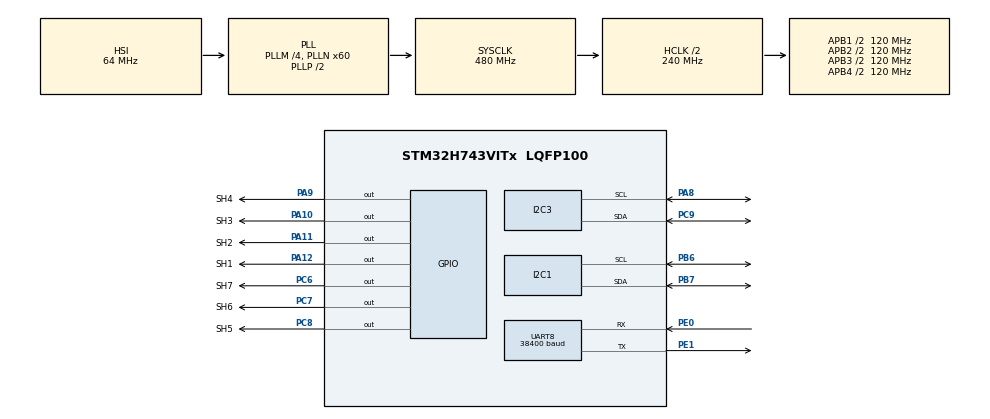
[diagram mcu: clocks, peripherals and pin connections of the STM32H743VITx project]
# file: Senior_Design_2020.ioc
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I2C1.OwnAddress=2
I2C1.Timing=0x307075B1
I2C3.OwnAddress=4
I2C3.Timing=0x307075B1
JPEG.JPEG_RGB_FORMAT=JPEG_RGB565
Mcu.Family=STM32H7
Mcu.Name=STM32H743VITx
Mcu.Package=LQFP100
NVIC.I2C1_EV_IRQn=true\:1\:0\:true\:false\:true\:true\:true
NVIC.I2C3_EV_IRQn=true\:0\:0\:false\:false\:true\:true\:true
NVIC.PriorityGroup=NVIC_PRIORITYGROUP_4
NVIC.UART8_IRQn=true\:1\:0\:true\:false\:true\:true\:true
PA10.GPIO_Label=SH3
PA10.Signal=GPIO_Output
PA11.GPIO_Label=SH2
PA11.Signal=GPIO_Output
PA12.GPIO_Label=SH1
PA12.Signal=GPIO_Output
PA8.Mode=I2C
PA8.Signal=I2C3_SCL
PA9.GPIO_Label=SH4
PA9.Signal=GPIO_Output
PB6.Mode=I2C
PB6.Signal=I2C1_SCL
PB7.Mode=I2C
PB7.Signal=I2C1_SDA
PC6.GPIO_Label=SH7
PC6.Signal=GPIO_Output
PC7.GPIO_Label=SH6
PC7.Signal=GPIO_Output
PC8.GPIO_Label=SH5
PC8.Signal=GPIO_Output
PC9.Mode=I2C
PC9.Signal=I2C3_SDA
PE0.GPIO_Speed=GPIO_SPEED_FREQ_HIGH
PE0.Mode=Asynchronous
PE0.Signal=UART8_RX
PE1.GPIO_Speed=GPIO_SPEED_FREQ_HIGH
PE1.Mode=Asynchronous
PE1.Signal=UART8_TX
ProjectManager.HeapSize=0x2000
ProjectManager.StackSize=0x4000
ProjectManager.TargetToolchain=STM32CubeIDE
RCC.ADCFreq_Value=129000000
RCC.APB1Freq_Value=120000000
RCC.APB2Freq_Value=120000000
RCC.APB3Freq_Value=120000000
RCC.APB4Freq_Value=120000000
RCC.CortexFreq_Value=480000000
RCC.D1PPRE=RCC_APB3_DIV2
RCC.D2PPRE1=RCC_APB1_DIV2
RCC.D2PPRE2=RCC_APB2_DIV2
RCC.D3PPRE=RCC_APB4_DIV2
RCC.DIVM1=4
RCC.DIVN1=60
RCC.HCLKFreq_Value=240000000
RCC.HPRE=RCC_HCLK_DIV2
RCC.PLL2FRACN=0
RCC.PLL3FRACN=0
RCC.PLLFRACN=0
RCC.SYSCLKFreq_VALUE=480000000
RCC.SYSCLKSource=RCC_SYSCLKSOURCE_PLLCLK
RCC.USBFreq_Value=480000000
UART8.AutoBaudRateEnableParam=UART_ADVFEATURE_AUTOBAUDRATE_DISABLE
UART8.BaudRate=38400
UART8.FIFOMode=FIFOMODE_ENABLE
UART8.RXFIFOThreshold=RXFIFO_THRESHOLD_FULL
VP_JPEG_VS_JPEG.Mode=JPEG_Activate
board=custom

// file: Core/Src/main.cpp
/* USER CODE BEGIN Header */
/**
  ******************************************************************************
  * @file           : main.c
  * @brief          : Main program body
  ******************************************************************************
  * @attention
  *
  * <h2><center>&copy; Copyright (c) 2020 STMicroelectronics.
  * All rights reserved.</center></h2>
  *
  * This software component is licensed by ST under BSD 3-Clause license,
  * the "License"; You may not use this file except in compliance with the
  * License. You may obtain a copy of the License at:
  *                        opensource.org/licenses/BSD-3-Clause
  *
  ******************************************************************************
  */
/* USER CODE END Header */

#include "main.h"

/* USER CODE BEGIN Includes */
#include "main_board_comm.h"
#include "HAL_VL53L0X.h"
/* USER CODE END Includes */

I2C_HandleTypeDef hi2c1;
I2C_HandleTypeDef hi2c3;

JPEG_HandleTypeDef hjpeg;

UART_HandleTypeDef huart8;

/* USER CODE BEGIN PV */
HAL_VL53L0X sensor[7];

// to take in frames from the master
uint8_t master_comm_buff[9];

uint8_t buff_list_size = 4;
buffer_link buffer_list[4];

obj_t object_list[8];
uint8_t object_num = 0;

// size of this buffer is somewhat arbitrary, first dimension is essentially maximum objects - 1 so this can be scaled
uint8_t i2c_buffer[8][9];

/* USER CODE END PV */

void SystemClock_Config(void);
static void MX_GPIO_Init(void);
static void MX_I2C1_Init(void);
static void MX_JPEG_Init(void);
static void MX_UART8_Init(void);
static void MX_I2C3_Init(void);

int main(void)
{

  /* MCU Configuration--------------------------------------------------------*/

  /* Reset of all peripherals, Initializes the Flash interface and the Systick. */
  HAL_Init();

  /* Configure the system clock */
  SystemClock_Config();

  /* Initialize all configured peripherals */
  MX_GPIO_Init();
  MX_I2C1_Init();
  MX_JPEG_Init();
  MX_UART8_Init();
  MX_I2C3_Init();
  /* USER CODE BEGIN 2 */

  printf("Beginning ToF initialization...\n");

   HAL_GPIO_WritePin(GPIOA, SH1_Pin, GPIO_PIN_RESET);
   HAL_GPIO_WritePin(GPIOA, SH2_Pin, GPIO_PIN_RESET);
   HAL_GPIO_WritePin(GPIOA, SH3_Pin, GPIO_PIN_RESET);
   HAL_GPIO_WritePin(GPIOA, SH4_Pin, GPIO_PIN_RESET);
   HAL_GPIO_WritePin(GPIOC, SH5_Pin, GPIO_PIN_RESET);
   HAL_GPIO_WritePin(GPIOC, SH6_Pin, GPIO_PIN_RESET);
   HAL_GPIO_WritePin(GPIOC, SH7_Pin, GPIO_PIN_RESET);

   HAL_Delay(10);

   HAL_GPIO_WritePin(GPIOA, SH1_Pin, GPIO_PIN_SET);
   if (!sensor[0].begin(TOF_ADD1, false, &hi2c1))
 	  printf("Begin statement 1 failed.\n");

   HAL_GPIO_WritePin(GPIOA, SH2_Pin, GPIO_PIN_SET);
   if (!sensor[1].begin(TOF_ADD2, false, &hi2c1))
 	  printf("Begin statement 2 failed.\n");

   HAL_GPIO_WritePin(GPIOA, SH3_Pin, GPIO_PIN_SET);
   if (!sensor[2].begin(TOF_ADD3, false, &hi2c1))
 	  printf("Begin statement 3 failed.\n");

   HAL_GPIO_WritePin(GPIOA, SH4_Pin, GPIO_PIN_SET);
   if (!sensor[3].begin(TOF_ADD4, false, &hi2c1))
 	  printf("Begin statement 4 failed.\n");

   HAL_GPIO_WritePin(GPIOC, SH5_Pin, GPIO_PIN_SET);
   if (!sensor[4].begin(TOF_ADD5, false, &hi2c1))
 	  printf("Begin statement 5 failed.\n");

   HAL_GPIO_WritePin(GPIOC, SH6_Pin, GPIO_PIN_SET);
   if (!sensor[5].begin(TOF_ADD6, false, &hi2c1))
 	  printf("Begin statement 6 failed.\n");

   HAL_GPIO_WritePin(GPIOC, SH7_Pin, GPIO_PIN_SET);
   if (!sensor[6].begin(TOF_ADD7, false, &hi2c1))
 	  printf("Begin statement 7 failed.\n");

   printf("Finished ToF initialization thus far.\n");

   // initialize camera before anything else with desired resolution, amount of compression (0x0 to 0xFF), and baudrate
   // note: current issue exists, it appears that attempting to change the baud rate will change the camera's baud rate, but our UART will stay
   //		at 38400 baud, we lose out on 3x speedup because of this but we are unsure of how to fix
   Camera_Initialize(&huart8, 1, 0xFF, 38400);
   HAL_Delay(10);

   //initialization of frameptr, must be incremented to request images correctly
   uint16_t frameptr = 0;

   HAL_StatusTypeDef result = HAL_ERROR;

   // initialization of circular buffer
   for (int i = 0; i < buff_list_size-1; i++) {
    buffer_list[i].jpeg_size = 0;
    buffer_list[i].next = buffer_list + i + 1;
   }
   buffer_list[buff_list_size-1].jpeg_size = 0;
   buffer_list[buff_list_size-1].next = buffer_list;

   buffer_link* curr_link = buffer_list;
   buffer_link* transmit_link = NULL;

  //HAL_I2C_Slave_Receive_IT(&hi2c3, master_comm_buff, 1);
  /* USER CODE END 2 */

  /* Infinite loop */
  /* USER CODE BEGIN WHILE */
  while (1)
  {
 	  printf("Beginning while loop.\n");

 	  // begin with ToF data collection for the image we are about to take a snapshot of
 	  // note: currently API does not function, so this function does not work, but its place in the flow should be around here
	  get_TOF_Data();

	  /*
	   * Begin process of extracting image, then processing image.
	   *
	   * Many of the below functions have what should be final code, except
	   * for the image processing functions as those are still waiting for
	   * OpenMV adapted collateral.
	   *
	   * Some ACK checks could be added to verify information, but otherwise the
	   * flow of the below code should be mostly finalized.
	   */

	  HAL_Delay(100);
	  printf("Taking snapshot...\n");
	  uint8_t snapshot_ack[5];
	  uint8_t *snapshot_ack1 = snapshot_ack;
	  Camera_Snapshot(&huart8, snapshot_ack1, sizeof(snapshot_ack));

	  if (snapshot_ack[0] == 0x76)
		  printf("Ack for snapshot received.\n");
	  else
		  printf("No ack received for snapshot.\n");

	  printf("Getting image length...\n");
	  uint8_t length_ack[9];
	  Camera_Get_IMG_Length(&huart8, length_ack, sizeof(length_ack));

	  if (length_ack[0] == 0x76)
		  printf("Ack for image length received.\n");
	  else
		  printf("No ack received for image length.\n");

	  // indices 7 and 8 of the length_ack should have actual values
	  uint16_t img_length = (((uint16_t) length_ack[7]) << 8) + (uint16_t) length_ack[8];
	  printf("Found image length: %lu\n", img_length);

	  curr_link->jpeg_size = img_length;

	  uint32_t ticktransfer1 = HAL_GetTick();

	  printf("Getting image...\n");
	  Camera_Get_IMG(&huart8, curr_link->jpeg, (10+img_length), length_ack[7], length_ack[8], (uint8_t) (frameptr >> 8), (uint8_t) frameptr);

	  uint32_t ticktransfer2 = HAL_GetTick();

	  printf("Image transfer time: %lu\n", ticktransfer2 - ticktransfer1);

	  uint8_t stop_ack[5];
	  uint8_t* stop_ack1 = stop_ack;
	  Camera_Stop_Capture(&huart8, stop_ack1, sizeof(stop_ack));

	  if (stop_ack[0] == 0x76)
		  printf("Ack for stopping capture received.\n");
	  else
		  printf("No ack received for stopping capture.\n");

	  uint8_t* jpeg_img_buf = curr_link->jpeg;
	  jpeg_img_buf += 5;

	  //below is a test for the I2C interface
/*

	  // image processed successfully
	  uint8_t comm = 20;
	  // something did not process correctly
	  uint8_t comm_b = 25;

	  result = HAL_I2C_Slave_Receive(&hi2c2, master_comm_buff, 1, 3000);

	  if (result == 0x0 && master_comm_buff[0] == 0x1) {
		  if (stop_ack[0] == 0x76)
			  result = HAL_I2C_Slave_Transmit(&hi2c2, &comm, 1, 3000);
		  else
			  result = HAL_I2C_Slave_Transmit(&hi2c2, &comm_b, 1, 3000);
	  }

	  else if (result == 0x0 && master_comm_buff[0] == 0x2) {
		  uint16_t jpeg_rem = transmit_link->jpeg_size + 5;
		  while (jpeg_rem > 0 && jpeg_rem < 3500) {
			  if (jpeg_rem/200 > 0)
				  result = HAL_I2C_Slave_Transmit(&hi2c2, (transmit_link->jpeg + 5 + transmit_link->jpeg_size - jpeg_rem), 200, 2000);
			  else {
				  result = HAL_I2C_Slave_Transmit(&hi2c2, (transmit_link->jpeg + 5 + transmit_link->jpeg_size - 100), 200, 2000);
				  printf("At last part.\n");
			  }

			  jpeg_rem -= 200;
			  printf("jpeg_rem: %d\n", jpeg_rem);

			  if (result != HAL_OK)
				  printf("Transmission did not finish, result status: %d\n", result);

			  //HAL_Delay(10);
		  }
	  }
*/

	  uint8_t red_mask = 0b11111000;
	  uint8_t blue_mask = 0b00011111;
	  uint8_t greenh_mask = 0b00000111;
	  uint8_t greenl_mask = 0b11100000;

	  curr_link->rgb[11200] = 255;
	  uint32_t tickj = HAL_GetTick();
	  result = HAL_JPEG_Decode(&hjpeg, jpeg_img_buf, (uint32_t) curr_link->jpeg_size, curr_link->rgb, 57600, 3000);

	  uint8_t* buff_check = curr_link->rgb;
	  buff_check++;
	  buff_check++;
	  buff_check++;
	  buff_check++;
	  buff_check++;

	  if (result == HAL_OK) {
		  printf("JPEG conversion finished successfully.\n");

		  //seems that output is only RGB565, further testing needed but RGB888 is unresponsive and output is 2/3 of expected size
		  for (uint64_t i = 0; i < 80; i++) {
			  //printf("{%d, %d} ", curr_link->rgb[19200+2*i], curr_link->rgb[19200+2*i+1]);

			  uint16_t red_v = ((red_mask & curr_link->rgb[19200+2*i+1]) >> 3)*255/31;
			  uint16_t blue_v = ((blue_mask & curr_link->rgb[19200+2*i]))*255/31;
			  uint16_t greenl_v = (greenl_mask & curr_link->rgb[19200+2*i]) >> 5;
			  uint16_t greenh_v = (greenh_mask & curr_link->rgb[19200+2*i+1]) << 3;
			  uint16_t green_v = (greenl_v + greenh_v)*255/63;

			  printf("{%d, %d, %d} ", red_v, green_v, blue_v);
		  }
		  printf("\n");
	  }
	  else
		  printf("JPEG conversion failed.\n");

	  uint32_t tickj2 = HAL_GetTick();
	  printf("JPEG time elapsed: %lu\n", tickj2-tickj);

	  // iterate to avoid sending repeats
	  transmit_link = curr_link;
	  curr_link = curr_link->next;

	  printf("\n\nLOOP COMPLETED\n\n");

	  printf("Result: %d\n\n", result);
	  result = HAL_ERROR;
	  HAL_Delay(10);

	  /*
	   *
	   * PLACEMENT OF COMPUTER VISION ALGORITHM IN FLOW
	   *
	   */

	  master_comm_buff[0] = 20;
	  master_comm_buff[1] = 30;
	  master_comm_buff[2] = 40;
	  master_comm_buff[3] = 50;
	  // placeholder blocking i2c communication until interrupt driven interface is debugged
	  result = HAL_I2C_Slave_Receive(&hi2c3, master_comm_buff, 9, 2000);

	  if (master_comm_buff[0] == DATA_REQ) {
		  package_data(object_list, object_num, i2c_buffer);
		  for (int i = 0; i < object_num/2 + object_num%2; i++)
			  result = HAL_I2C_Slave_Transmit(&hi2c3, i2c_buffer[i], 9, 2000);
	  }
	  result = HAL_ERROR;

	  //printf("End of while loop reached...");

    /* USER CODE END WHILE */

  }
}

void SystemClock_Config(void)
{
  RCC_OscInitTypeDef RCC_OscInitStruct = {0};
  RCC_ClkInitTypeDef RCC_ClkInitStruct = {0};
  RCC_PeriphCLKInitTypeDef PeriphClkInitStruct = {0};

  /** Supply configuration update enable
  */
  HAL_PWREx_ConfigSupply(PWR_LDO_SUPPLY);
  /** Configure the main internal regulator output voltage
  */
  __HAL_PWR_VOLTAGESCALING_CONFIG(PWR_REGULATOR_VOLTAGE_SCALE0);

  while(!__HAL_PWR_GET_FLAG(PWR_FLAG_VOSRDY)) {}
  /** Initializes the CPU, AHB and APB busses clocks
  */
  RCC_OscInitStruct.OscillatorType = RCC_OSCILLATORTYPE_HSI;
  RCC_OscInitStruct.HSIState = RCC_HSI_DIV1;
  RCC_OscInitStruct.HSICalibrationValue = RCC_HSICALIBRATION_DEFAULT;
  RCC_OscInitStruct.PLL.PLLState = RCC_PLL_ON;
  RCC_OscInitStruct.PLL.PLLSource = RCC_PLLSOURCE_HSI;
  RCC_OscInitStruct.PLL.PLLM = 4;
  RCC_OscInitStruct.PLL.PLLN = 60;
  RCC_OscInitStruct.PLL.PLLP = 2;
  RCC_OscInitStruct.PLL.PLLQ = 2;
  RCC_OscInitStruct.PLL.PLLR = 2;
  RCC_OscInitStruct.PLL.PLLRGE = RCC_PLL1VCIRANGE_3;
  RCC_OscInitStruct.PLL.PLLVCOSEL = RCC_PLL1VCOWIDE;
  RCC_OscInitStruct.PLL.PLLFRACN = 0;
  if (HAL_RCC_OscConfig(&RCC_OscInitStruct) != HAL_OK)
  {
    Error_Handler();
  }
  /** Initializes the CPU, AHB and APB busses clocks
  */
  RCC_ClkInitStruct.ClockType = RCC_CLOCKTYPE_HCLK|RCC_CLOCKTYPE_SYSCLK
                              |RCC_CLOCKTYPE_PCLK1|RCC_CLOCKTYPE_PCLK2
                              |RCC_CLOCKTYPE_D3PCLK1|RCC_CLOCKTYPE_D1PCLK1;
  RCC_ClkInitStruct.SYSCLKSource = RCC_SYSCLKSOURCE_PLLCLK;
  RCC_ClkInitStruct.SYSCLKDivider = RCC_SYSCLK_DIV1;
  RCC_ClkInitStruct.AHBCLKDivider = RCC_HCLK_DIV2;
  RCC_ClkInitStruct.APB3CLKDivider = RCC_APB3_DIV2;
  RCC_ClkInitStruct.APB1CLKDivider = RCC_APB1_DIV2;
  RCC_ClkInitStruct.APB2CLKDivider = RCC_APB2_DIV2;
  RCC_ClkInitStruct.APB4CLKDivider = RCC_APB4_DIV2;

  if (HAL_RCC_ClockConfig(&RCC_ClkInitStruct, FLASH_LATENCY_4) != HAL_OK)
  {
    Error_Handler();
  }
  PeriphClkInitStruct.PeriphClockSelection = RCC_PERIPHCLK_UART8|RCC_PERIPHCLK_I2C3
                              |RCC_PERIPHCLK_I2C1;
  PeriphClkInitStruct.Usart234578ClockSelection = RCC_USART234578CLKSOURCE_D2PCLK1;
  PeriphClkInitStruct.I2c123ClockSelection = RCC_I2C123CLKSOURCE_D2PCLK1;
  if (HAL_RCCEx_PeriphCLKConfig(&PeriphClkInitStruct) != HAL_OK)
  {
    Error_Handler();
  }
}

static void MX_I2C1_Init(void)
{

  hi2c1.Instance = I2C1;
  hi2c1.Init.Timing = 0x307075B1;
  hi2c1.Init.OwnAddress1 = 4;
  hi2c1.Init.AddressingMode = I2C_ADDRESSINGMODE_7BIT;
  hi2c1.Init.DualAddressMode = I2C_DUALADDRESS_DISABLE;
  hi2c1.Init.OwnAddress2 = 0;
  hi2c1.Init.OwnAddress2Masks = I2C_OA2_NOMASK;
  hi2c1.Init.GeneralCallMode = I2C_GENERALCALL_DISABLE;
  hi2c1.Init.NoStretchMode = I2C_NOSTRETCH_DISABLE;
  if (HAL_I2C_Init(&hi2c1) != HAL_OK)
  {
    Error_Handler();
  }
  /** Configure Analogue filter
  */
  if (HAL_I2CEx_ConfigAnalogFilter(&hi2c1, I2C_ANALOGFILTER_ENABLE) != HAL_OK)
  {
    Error_Handler();
  }
  /** Configure Digital filter
  */
  if (HAL_I2CEx_ConfigDigitalFilter(&hi2c1, 0) != HAL_OK)
  {
    Error_Handler();
  }

}

static void MX_I2C3_Init(void)
{

  hi2c3.Instance = I2C3;
  hi2c3.Init.Timing = 0x307075B1;
  hi2c3.Init.OwnAddress1 = 8;
  hi2c3.Init.AddressingMode = I2C_ADDRESSINGMODE_7BIT;
  hi2c3.Init.DualAddressMode = I2C_DUALADDRESS_DISABLE;
  hi2c3.Init.OwnAddress2 = 0;
  hi2c3.Init.OwnAddress2Masks = I2C_OA2_NOMASK;
  hi2c3.Init.GeneralCallMode = I2C_GENERALCALL_DISABLE;
  hi2c3.Init.NoStretchMode = I2C_NOSTRETCH_DISABLE;
  if (HAL_I2C_Init(&hi2c3) != HAL_OK)
  {
    Error_Handler();
  }
  /** Configure Analogue filter
  */
  if (HAL_I2CEx_ConfigAnalogFilter(&hi2c3, I2C_ANALOGFILTER_ENABLE) != HAL_OK)
  {
    Error_Handler();
  }
  /** Configure Digital filter
  */
  if (HAL_I2CEx_ConfigDigitalFilter(&hi2c3, 0) != HAL_OK)
  {
    Error_Handler();
  }

}

static void MX_JPEG_Init(void)
{

  hjpeg.Instance = JPEG;
  if (HAL_JPEG_Init(&hjpeg) != HAL_OK)
  {
    Error_Handler();
  }

}

static void MX_UART8_Init(void)
{

  huart8.Instance = UART8;
  huart8.Init.BaudRate = 38400;
  huart8.Init.WordLength = UART_WORDLENGTH_8B;
  huart8.Init.StopBits = UART_STOPBITS_1;
  huart8.Init.Parity = UART_PARITY_NONE;
  huart8.Init.Mode = UART_MODE_TX_RX;
  huart8.Init.HwFlowCtl = UART_HWCONTROL_NONE;
  huart8.Init.OverSampling = UART_OVERSAMPLING_16;
  huart8.Init.OneBitSampling = UART_ONE_BIT_SAMPLE_DISABLE;
  huart8.Init.ClockPrescaler = UART_PRESCALER_DIV1;
  huart8.AdvancedInit.AdvFeatureInit = UART_ADVFEATURE_NO_INIT;
  if (HAL_UART_Init(&huart8) != HAL_OK)
  {
    Error_Handler();
  }
  if (HAL_UARTEx_SetTxFifoThreshold(&huart8, UART_TXFIFO_THRESHOLD_1_8) != HAL_OK)
  {
    Error_Handler();
  }
  if (HAL_UARTEx_SetRxFifoThreshold(&huart8, UART_RXFIFO_THRESHOLD_8_8) != HAL_OK)
  {
    Error_Handler();
  }
  if (HAL_UARTEx_EnableFifoMode(&huart8) != HAL_OK)
  {
    Error_Handler();
  }

}

static void MX_GPIO_Init(void)
{
  GPIO_InitTypeDef GPIO_InitStruct = {0};

  /* GPIO Ports Clock Enable */
  __HAL_RCC_GPIOC_CLK_ENABLE();
  __HAL_RCC_GPIOA_CLK_ENABLE();
  __HAL_RCC_GPIOB_CLK_ENABLE();
  __HAL_RCC_GPIOE_CLK_ENABLE();

  /*Configure GPIO pin Output Level */
  HAL_GPIO_WritePin(GPIOC, SH7_Pin|SH6_Pin|SH5_Pin, GPIO_PIN_RESET);

  /*Configure GPIO pin Output Level */
  HAL_GPIO_WritePin(GPIOA, SH4_Pin|SH3_Pin|SH2_Pin|SH1_Pin, GPIO_PIN_RESET);

  /*Configure GPIO pins : SH7_Pin SH6_Pin SH5_Pin */
  GPIO_InitStruct.Pin = SH7_Pin|SH6_Pin|SH5_Pin;
  GPIO_InitStruct.Mode = GPIO_MODE_OUTPUT_PP;
  GPIO_InitStruct.Pull = GPIO_NOPULL;
  GPIO_InitStruct.Speed = GPIO_SPEED_FREQ_LOW;
  HAL_GPIO_Init(GPIOC, &GPIO_InitStruct);

  /*Configure GPIO pins : SH4_Pin SH3_Pin SH2_Pin SH1_Pin */
  GPIO_InitStruct.Pin = SH4_Pin|SH3_Pin|SH2_Pin|SH1_Pin;
  GPIO_InitStruct.Mode = GPIO_MODE_OUTPUT_PP;
  GPIO_InitStruct.Pull = GPIO_NOPULL;
  GPIO_InitStruct.Speed = GPIO_SPEED_FREQ_LOW;
  HAL_GPIO_Init(GPIOA, &GPIO_InitStruct);

}

/* USER CODE BEGIN 4 */

// dummy functions to be used as interfaces to other blocks
void get_TOF_Data() {

	VL53L0X_RangingMeasurementData_t measure;

	int data[7][5];
	for (int i = 0; i < 5; i++) {
		for (int j = 0; j < 7; j++) {
			sensor[j].rangingTest(&measure, true);
			data[j][i] = measure.RangeMilliMeter;
		}
	}

	process_ToF(object_list, &object_num, data);
}

// attempt at dealing with UART timing issues, could be used for the future for a UART interface driven by interrupt
// especially should be considered because of current baud rate change issues
void HAL_UART_RxCpltCallback(UART_HandleTypeDef * huart) {
	//printf("Interrupt triggered.");

}

// for when we are triggered as slave
void HAL_I2C_SlaveRxCpltCallback(I2C_HandleTypeDef * hi2c) {
	uint8_t message = 1;

	if (master_comm_buff[0] == 0x01)
		HAL_I2C_Slave_Transmit(hi2c, &message, 1, HAL_MAX_DELAY);

	printf("In call back.\n");
	HAL_I2C_Slave_Receive_IT(hi2c, master_comm_buff, 1);
}

/*
 * _write is built for an override of stdio's access to the default weak _write function,
 * used for printf, this implementation with Instrument Trace Macrocell (ITM) writing enables
 * console outputs as long as the Serial Wire Viewer (SWV) configurations are correct
 *
 * NOTES FOR SWV CONFIG:
 * 		- enable SWV ITM Data Console in Windows
 * 		- enable whichever ports necessary, can leave memory as default, check console settings here
 * 		- ensure that debug settings are enabled as such that SWV is enabled, probe is GDB server, and
 * 			clock matches the SYSCLK, not HCLK
 */
int _write(int file, char* out, int len) {
	for (int i = 0; i < len; i++) {
		ITM_SendChar(out[i]);
	}
	return len;
}

/*
 * Due to issues with the speed of HAL_UART functions, this is a substitute that strips away much of the safety measures that the HAL drivers
 * implement. It is fairly minimal. The variables passed are still in line with what a typical UART HAL driver might expect.
 *
 * pdata8bits is used explicitly for instances where 8 bit UART is expected. Any parity UART would require a rewrite of this function.
 * One could simply expand it with pdata16bits as a uint16_t*
 */
HAL_StatusTypeDef UART_Fast_Transmit(UART_HandleTypeDef* huart, uint8_t* pData, uint16_t Size, uint32_t Timeout) {

	uint32_t tickstart;
	tickstart = HAL_GetTick();
	uint8_t* pdata8bits = pData;

    huart->TxXferSize  = Size;
    huart->TxXferCount = Size;

    while (huart->TxXferCount > 0U)
    {
      //ensure that Tx operations are finished before we continue
      if (UART_WaitOnFlagUntilTimeout(huart, UART_FLAG_TXE, RESET, tickstart, Timeout) != HAL_OK)
      {
        return HAL_TIMEOUT;
      }

      huart->Instance->TDR = (uint8_t)(*pdata8bits & 0xFFU); // what is the purpose of the & operation if the mask is just 0xFF
      pdata8bits++;
      huart->TxXferCount--;
    }

	return HAL_OK;
}

HAL_StatusTypeDef UART_Fast_Receive(UART_HandleTypeDef *huart, uint8_t *pData, uint16_t Size, uint32_t Timeout) {

	uint32_t tickstart;
	tickstart = HAL_GetTick();
	uint8_t* pdata8bits = pData;

    huart->RxXferSize  = Size;
    huart->RxXferCount = Size;

    while (huart->RxXferCount > 0U)
    {
       /*if (UART_WaitOnFlagUntilTimeout(huart, UART_FLAG_RXNE, RESET, tickstart, Timeout) != HAL_OK)
       {
         return HAL_TIMEOUT;
       }*/

       while((__HAL_UART_GET_FLAG(huart, UART_FLAG_RXNE) ? SET : RESET) == RESET) {} // ? operator is a conditional ternary, may just be fast

       *pdata8bits = (uint8_t)(huart->Instance->RDR & 0xFFU);	// note that UART mask here is variable in HAL drivers, often 255 so that is default
       pdata8bits++;

       huart->RxXferCount--;
    }

    return HAL_OK;

}
/* USER CODE END 4 */

void Error_Handler(void)
{
}

/************************ (C) COPYRIGHT STMicroelectronics *****END OF FILE****/
